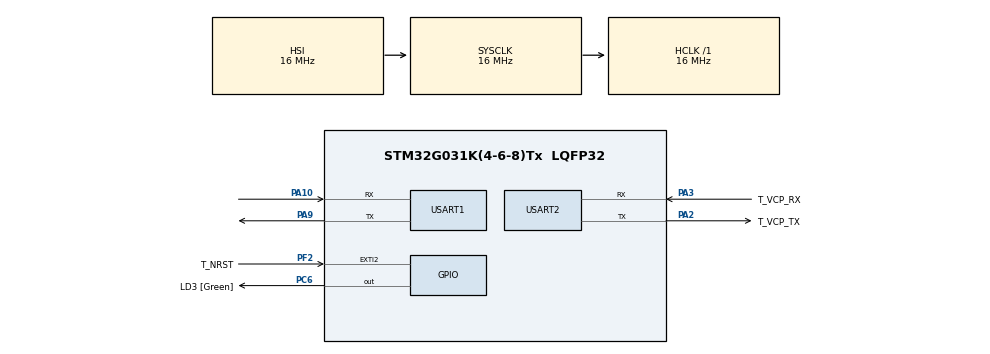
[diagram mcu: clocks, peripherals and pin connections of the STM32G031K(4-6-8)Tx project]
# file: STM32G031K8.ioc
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Mcu.Family=STM32G0
Mcu.Name=STM32G031K(4-6-8)Tx
Mcu.Package=LQFP32
PA10.Mode=Asynchronous
PA10.Signal=USART1_RX
PA13.GPIO_Label=T_JTMS
PA13.Mode=Serial_Wire
PA13.Signal=SYS_SWDIO
PA14-BOOT0.GPIO_Label=T_JTCK
PA14-BOOT0.Mode=Serial_Wire
PA14-BOOT0.Signal=SYS_SWCLK
PA2.GPIO_Label=T_VCP_TX
PA2.GPIO_PuPd=GPIO_PULLUP
PA2.Mode=Asynchronous
PA2.Signal=USART2_TX
PA3.GPIO_Label=T_VCP_RX
PA3.GPIO_PuPd=GPIO_PULLUP
PA3.Mode=Asynchronous
PA3.Signal=USART2_RX
PA9.Mode=Asynchronous
PA9.Signal=USART1_TX
PC14-OSC32_IN\ (PC14).Mode=LSE-External-Oscillator
PC14-OSC32_IN\ (PC14).Signal=RCC_OSC32_IN
PC15-OSC32_OUT\ (PC15).Mode=LSE-External-Oscillator
PC15-OSC32_OUT\ (PC15).Signal=RCC_OSC32_OUT
PC6.GPIO_Label=LD3 [Green]
PC6.Signal=GPIO_Output
PF2\ -\ NRST.GPIO_Label=T_NRST
PF2\ -\ NRST.Signal=GPXTI2
ProjectManager.HeapSize=0x200
ProjectManager.StackSize=0x400
ProjectManager.TargetToolchain=STM32CubeIDE
RCC.AHBFreq_Value=16000000
RCC.CortexFreq_Value=16000000
RCC.EXTERNAL_CLOCK_VALUE=12288000
RCC.HCLKFreq_Value=16000000
RCC.HSE_VALUE=8000000
RCC.HSI_VALUE=16000000
RCC.SYSCLKFreq_VALUE=16000000
RCC.VCOOutputFreq_Value=128000000
TIM16.Period=65536 - 1
TIM16.Prescaler=1600 - 1
USART1.VirtualMode-Asynchronous=VM_ASYNC
USART2.VirtualMode-Asynchronous=VM_ASYNC
USART2.WordLength=WORDLENGTH_7B
VP_TIM16_VS_ClockSourceINT.Mode=Enable_Timer
board=NUCLEO-G031K8

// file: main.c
/* USER CODE BEGIN Header */
/**
  ******************************************************************************
  * @file           : main.c
  * @brief          : Main program body
  ******************************************************************************
  * @attention
  *
  * <h2><center>&copy; Copyright (c) 2020 STMicroelectronics.
  * All rights reserved.</center></h2>
  *
  * This software component is licensed by ST under BSD 3-Clause license,
  * the "License"; You may not use this file except in compliance with the
  * License. You may obtain a copy of the License at:
  *                        opensource.org/licenses/BSD-3-Clause
  *
  ******************************************************************************
  */
/* USER CODE END Header */
#include "main.h"
#include "tim.h"
#include "usart.h"
#include "gpio.h"

/* USER CODE BEGIN Includes */
#include <stdio.h>
/* USER CODE END Includes */

/* USER CODE BEGIN PV */

TIM_HandleTypeDef htim16;
UART_HandleTypeDef huart1;
UART_HandleTypeDef huart2;

/* USER CODE END PV */

void SystemClock_Config(void);

int main(void)
{
  /* USER CODE BEGIN 1 */

  char uart_buf[50];
  int uart_buf_len;
  uint16_t timer_val;

  /* USER CODE END 1 */

  /* MCU Configuration--------------------------------------------------------*/

  /* Reset of all peripherals, Initializes the Flash interface and the Systick. */
  HAL_Init();

  /* Configure the system clock */
  SystemClock_Config();

  /* Initialize all configured peripherals */
  MX_GPIO_Init();
  MX_USART2_UART_Init();
  MX_TIM16_Init();
  MX_USART1_UART_Init();
  /* USER CODE BEGIN 2 */

  // Say something
  uart_buf_len = sprintf(uart_buf, "Timer Test\r\n");
  HAL_UART_Transmit(&huart1, (uint8_t *)uart_buf, uart_buf_len, 100);
//  HAL_UART_Transmit(&huart2, (uint8_t *)uart_buf, uart_buf_len, 100);

  // Start timer
  HAL_TIM_Base_Start(&htim16);

  // Get current time (microseconds)
  timer_val = __HAL_TIM_GET_COUNTER(&htim16);

  /* USER CODE END 2 */

  /* Infinite loop */
  /* USER CODE BEGIN WHILE */
  while (1)
  {
	// Show elapsed time
	uart_buf_len = sprintf(uart_buf, "%u us\r\n", timer_val);
	HAL_UART_Transmit(&huart1, (uint8_t *)uart_buf, uart_buf_len, 100);
	// If enough time has passed (1 second), toggle LED and get new timestamp
	if (__HAL_TIM_GET_COUNTER(&htim16) - timer_val >= 10000)
	{
	  HAL_GPIO_TogglePin(LD3_GPIO_Port, LD3_Pin);
	  timer_val = __HAL_TIM_GET_COUNTER(&htim16);
	}
    /* USER CODE END WHILE */

  }
}

void SystemClock_Config(void)
{
  RCC_OscInitTypeDef RCC_OscInitStruct = {0};
  RCC_ClkInitTypeDef RCC_ClkInitStruct = {0};
  RCC_PeriphCLKInitTypeDef PeriphClkInit = {0};

  /** Configure the main internal regulator output voltage
  */
  HAL_PWREx_ControlVoltageScaling(PWR_REGULATOR_VOLTAGE_SCALE1);
  /** Initializes the RCC Oscillators according to the specified parameters
  * in the RCC_OscInitTypeDef structure.
  */
  RCC_OscInitStruct.OscillatorType = RCC_OSCILLATORTYPE_HSI;
  RCC_OscInitStruct.HSIState = RCC_HSI_ON;
  RCC_OscInitStruct.HSIDiv = RCC_HSI_DIV1;
  RCC_OscInitStruct.HSICalibrationValue = RCC_HSICALIBRATION_DEFAULT;
  RCC_OscInitStruct.PLL.PLLState = RCC_PLL_NONE;
  if (HAL_RCC_OscConfig(&RCC_OscInitStruct) != HAL_OK)
  {
    Error_Handler();
  }
  /** Initializes the CPU, AHB and APB buses clocks
  */
  RCC_ClkInitStruct.ClockType = RCC_CLOCKTYPE_HCLK|RCC_CLOCKTYPE_SYSCLK
                              |RCC_CLOCKTYPE_PCLK1;
  RCC_ClkInitStruct.SYSCLKSource = RCC_SYSCLKSOURCE_HSI;
  RCC_ClkInitStruct.AHBCLKDivider = RCC_SYSCLK_DIV1;
  RCC_ClkInitStruct.APB1CLKDivider = RCC_HCLK_DIV1;

  if (HAL_RCC_ClockConfig(&RCC_ClkInitStruct, FLASH_LATENCY_0) != HAL_OK)
  {
    Error_Handler();
  }
  /** Initializes the peripherals clocks
  */
  PeriphClkInit.PeriphClockSelection = RCC_PERIPHCLK_USART1;
  PeriphClkInit.Usart1ClockSelection = RCC_USART1CLKSOURCE_PCLK1;
  if (HAL_RCCEx_PeriphCLKConfig(&PeriphClkInit) != HAL_OK)
  {
    Error_Handler();
  }
}

void Error_Handler(void)
{
}

/************************ (C) COPYRIGHT STMicroelectronics *****END OF FILE****/
